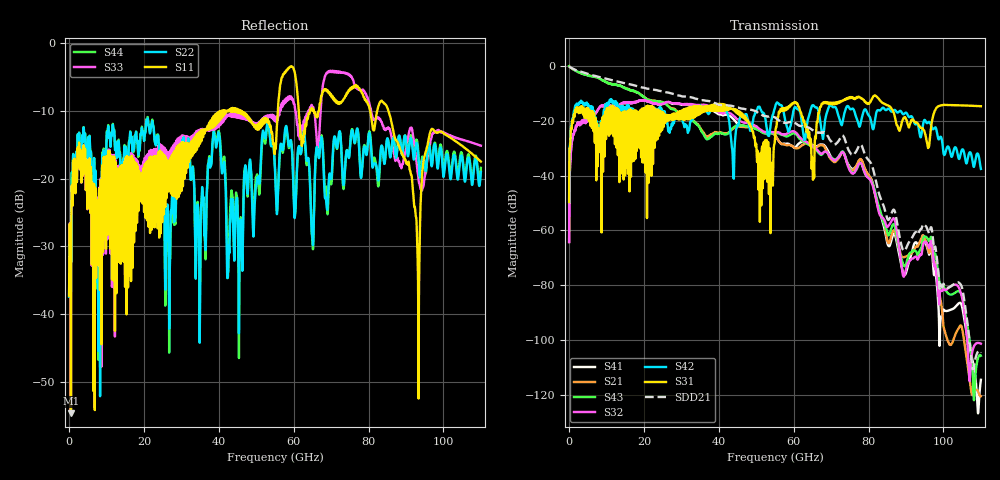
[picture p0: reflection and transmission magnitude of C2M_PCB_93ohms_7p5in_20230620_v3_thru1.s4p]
! Info: Touchstone file created by Circ.  Input file=C2M_PCB_93ohms_7p5in_20230620_v3.circ
# Hz S RI R 50
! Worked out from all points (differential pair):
!   11000 points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, 10 MHz to 110 GHz, reference 50 ohm
!   strongest paths, dB at 10 MHz, 27.51 GHz, 55.01 GHz, 82.51 GHz, 110 GHz:
!     S31: -49.7, -18.0, -26.3, -11.7, -14.7
!     S42: -49.5, -21.4, -15.1, -16.1, -37.6
!     S32: -64.2, -13.6, -24.2, -52.0, -101.3
!     S43: -0.1, -15.7, -24.6, -50.1, -105.7
!     S21: -0.1, -15.4, -25.2, -51.9, -120.5
!     S41: -64.2, -13.8, -25.3, -50.9, -114.5
!   taken as a pair (ports 3,1 in; 4,2 out), SDD21 dB: -0.1, -10.2, -18.9, -45.2, -104.6
!   lowest |S11| = -54.7 dB at 490 MHz (marker M1), VSWR 1.00, Z = 50 + j0.182 ohm
!   |S11| at or under -10 dB: start of sweep to 40.66 GHz; 45.85 GHz to 55.76 GHz (9.911 GHz wide, 19.5 % of centre); 85.29 GHz to end of sweep (the widest 3 of 18)
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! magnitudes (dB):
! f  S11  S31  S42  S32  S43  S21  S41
! 10 MHz  -37.3  -49.7  -49.5  -64.2  -0.1  -0.1  -64.2
! 490 MHz  -54.7  -22.6  -22.1  -31.2  -0.7  -0.7  -31.2
! 36.77 GHz  -12.7  -16.3  -16.6  -14.3  -26.7  -25.9  -14.7
! 53.92 GHz  -12.6  -36.1  -20.6  -24.1  -24.5  -24.4  -24.5
! 60.06 GHz  -3.9  -13.3  -15.8  -23.9  -24.6  -29.7  -29.8
! 65.11 GHz  -10.0  -39.7  -14.4  -29.3  -29.7  -29.3  -28.9
! 110 GHz  -17.5  -14.7  -37.6  -101.3  -105.7  -120.5  -114.5
